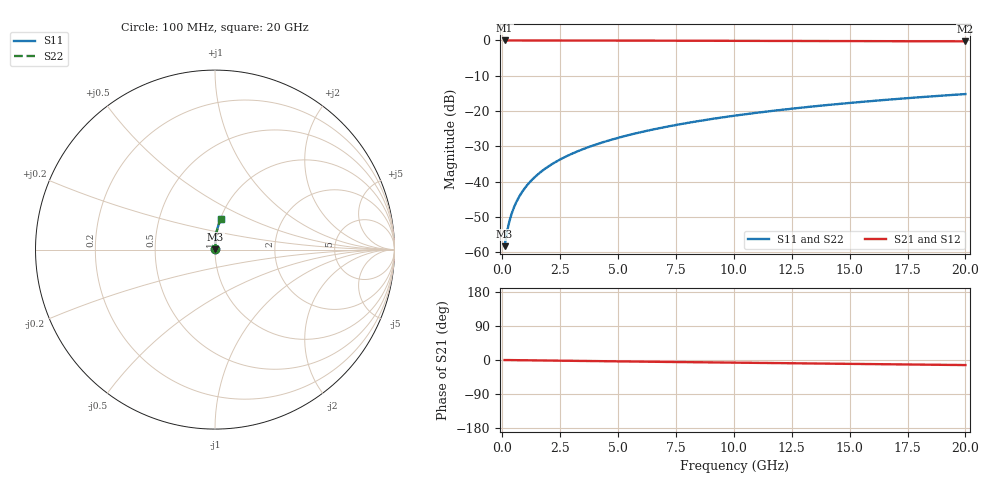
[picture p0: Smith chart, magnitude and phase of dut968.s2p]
! Touchstone file exported from HFSS 2024.1.0
!  File:  C:/UserFiles/LocalFiles/RDL_TSV_Batchsim/temp_RDL_top_968_1779938710.aedt
!  Generated:  11:27:47 AM May 28, 2026
!  Design:  RDL_top
!  Project:  temp_RDL_top_968_1779938710
!  Setup:  Setup1
!  Solution:  Sweep
! Variables:
!  dtsv = 10.80580581um
!  hbump = 3um
!  htsv = 77.87um
!  ldown = 100um
!  lrdl = 128um
!  p = 40
!  p1 = 57.37um
!  rhole = 1um
!  t = 450um
!  tdown = 3.915915916um
!  trdl = 3.72um
!  wdown = 15.38538539um
!  wrdl = 18.2um
# GHz S MA R 50.000000
! Terminal data exported
! Port[1] = Box2_T1
! Port[2] = Box2_T2
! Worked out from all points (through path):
!   200 points, 100 MHz to 20 GHz, reference 50 ohm
!   highest |S21| = -0.01 dB at 100 MHz (marker M1); lowest = -0.3 dB at 20 GHz (marker M2)
!   group delay of S21, straight-line fit = 1.84 ps
!   lowest |S11| = -58.3 dB at 100 MHz (marker M3), VSWR 1.00, Z = 50.1 + j0.0859 ohm
!   |S11| at or under -10 dB: start of sweep to end of sweep
!   |S22| runs from -58.3 to -15.2 dB; largest |S21 - S12| = 4.1e-15
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0.1  0.001216 44.9  0.9991 -0.1  0.9991 -0.1  0.001216 44.9
! Gamma 0 0 0 0
! Port Impedance 50 0 50 0
0.2  0.00192 62.5  0.9991 -0.2  0.9991 -0.2  0.00192 62.5
0.3  0.002694 70.1  0.9991 -0.2  0.9991 -0.2  0.002694 70.1
0.4  0.003483 74.3  0.999 -0.3  0.999 -0.3  0.003483 74.3
0.5  0.004278 77.0  0.999 -0.4  0.999 -0.4  0.004278 77.0
0.7  0.005878 80.3  0.9989 -0.5  0.9989 -0.5  0.005878 80.3
0.8  0.006682 81.4  0.9989 -0.6  0.9989 -0.6  0.006682 81.4
1  0.008297 83.0  0.9988 -0.7  0.9988 -0.7  0.008297 83.0
1.2  0.009919 84.1  0.9987 -0.9  0.9987 -0.9  0.009919 84.1
1.4  0.01155 84.9  0.9986 -1.0  0.9986 -1.0  0.01155 84.9
1.7  0.014 85.7  0.9985 -1.3  0.9985 -1.3  0.014 85.7
2  0.01646 86.3  0.9983 -1.5  0.9983 -1.5  0.01646 86.3
2.7  0.02225 87.1  0.9977 -2.0  0.9977 -2.0  0.02225 87.1
3.5  0.02893 87.5  0.9969 -2.6  0.9969 -2.6  0.02893 87.5
4.2  0.03484 87.7  0.9961 -3.1  0.9961 -3.1  0.03484 87.7
5  0.04167 87.7  0.9951 -3.6  0.9951 -3.6  0.04167 87.7
6.8  0.05727 87.3  0.9925 -4.9  0.9925 -4.9  0.05727 87.3
8.3  0.07048 86.7  0.9902 -5.9  0.9902 -5.9  0.07048 86.7
10.1  0.08648 85.7  0.9873 -7.1  0.9873 -7.1  0.08648 85.7
13.4  0.1159 83.6  0.9819 -9.2  0.9819 -9.2  0.1159 83.6
16.7  0.1451 81.4  0.9762 -11.3  0.9762 -11.3  0.1451 81.4
20  0.1739 79.1  0.9701 -13.4  0.9701 -13.4  0.1739 79.1
